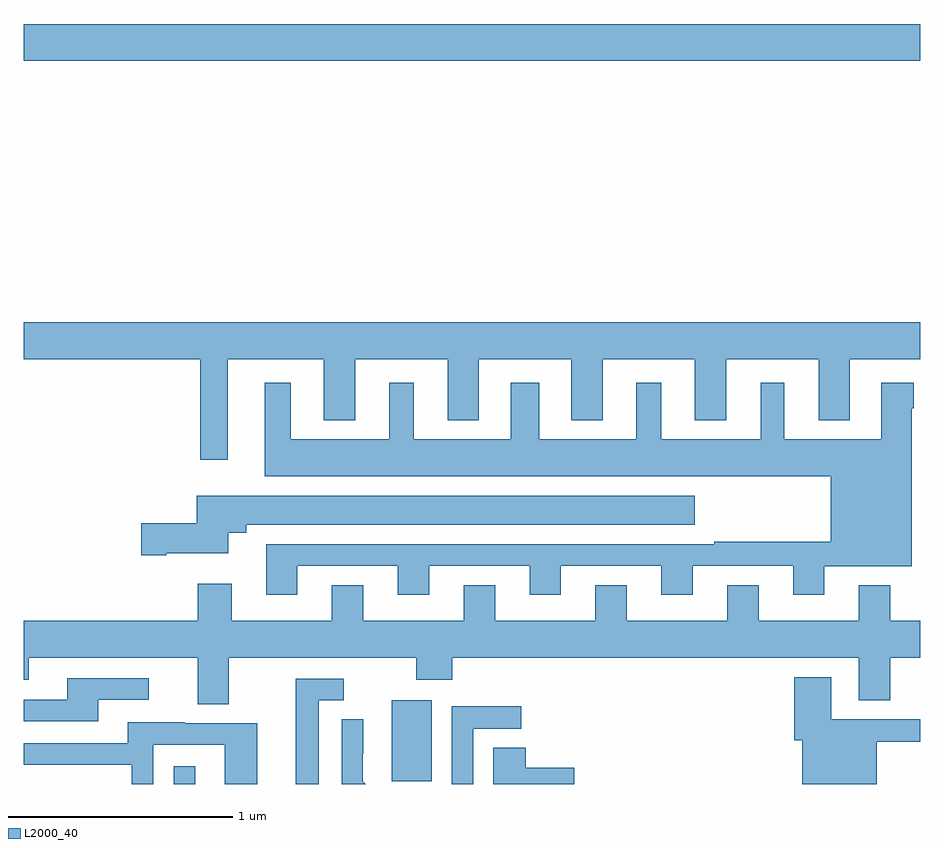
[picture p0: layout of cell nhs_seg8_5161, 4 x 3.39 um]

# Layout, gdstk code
import gdstk
lib = gdstk.Library(unit=1e-6, precision=1e-09)
def R(c, l, rs):  # rectangles x0, y0, x1, y1
    for r in rs: c.add(gdstk.rectangle(r[:2], r[2:], *l))
def P(c, l, *ps):  # polygons
    for p in ps: c.add(gdstk.Polygon(p, *l))
L2000_40 = (2000, 40)

nhs_seg8_5161 = lib.new_cell('nhs_seg8_5161')
R(nhs_seg8_5161, L2000_40, [(421.668,1151.9,421.765,1151.98), (422.642,1151.913,422.821,1152.274), (421,1155.128,425,1155.292)])
P(nhs_seg8_5161, L2000_40, [(421.909,1153.796),(422.339,1153.796),(422.339,1153.523),(422.479,1153.523),(422.479,1153.796),(422.891,1153.796),(422.891,1153.523),(423.031,1153.523),(423.031,1153.796),(423.443,1153.796),(423.443,1153.523),(423.583,1153.523),(423.583,1153.796),(423.995,1153.796),(423.995,1153.523),(424.135,1153.523),(424.135,1153.796),(424.547,1153.796),(424.547,1153.523),(424.687,1153.523),(424.687,1153.796),(425,1153.796),(425,1153.96),(421,1153.96),(421,1153.796),(421.788,1153.796),(421.788,1153.347),(421.909,1153.347)],
  [(422.221,1152.873),(422.669,1152.873),(422.669,1152.744),(422.809,1152.744),(422.809,1152.873),(423.257,1152.873),(423.257,1152.744),(423.397,1152.744),(423.397,1152.873),(423.845,1152.873),(423.845,1152.744),(423.985,1152.744),(423.985,1152.873),(424.433,1152.873),(424.433,1152.744),(424.573,1152.744),(424.573,1152.872),(424.963,1152.872),(424.963,1153.577),(424.971,1153.577),(424.971,1153.69),(424.826,1153.69),(424.826,1153.438),(424.393,1153.438),(424.393,1153.69),(424.289,1153.69),(424.289,1153.438),(423.844,1153.438),(423.844,1153.69),(423.734,1153.69),(423.734,1153.438),(423.301,1153.438),(423.301,1153.69),(423.173,1153.69),(423.173,1153.438),(422.74,1153.438),(422.74,1153.69),(422.63,1153.69),(422.63,1153.438),(422.191,1153.438),(422.191,1153.69),(422.075,1153.69),(422.075,1153.274),(424.601,1153.274),(424.601,1152.982),(424.081,1152.982),(424.081,1152.969),(422.081,1152.969),(422.081,1152.744),(422.221,1152.744)],
  [(421.636,1152.929),(421.912,1152.929),(421.912,1153.022),(421.993,1153.022),(421.993,1153.058),(423.994,1153.058),(423.994,1153.186),(421.772,1153.186),(421.772,1153.064),(421.524,1153.064),(421.524,1152.922),(421.636,1152.922)],
  [(421.915,1152.464),(422.752,1152.464),(422.752,1152.365),(422.912,1152.365),(422.912,1152.464),(424.727,1152.464),(424.727,1152.274),(424.867,1152.274),(424.867,1152.464),(425,1152.464),(425,1152.628),(424.867,1152.628),(424.867,1152.787),(424.727,1152.787),(424.727,1152.628),(424.279,1152.628),(424.279,1152.788),(424.139,1152.788),(424.139,1152.628),(423.691,1152.628),(423.691,1152.788),(423.551,1152.788),(423.551,1152.628),(423.103,1152.628),(423.103,1152.788),(422.963,1152.788),(422.963,1152.628),(422.515,1152.628),(422.515,1152.788),(422.375,1152.788),(422.375,1152.628),(421.927,1152.628),(421.927,1152.793),(421.775,1152.793),(421.775,1152.628),(421,1152.628),(421,1152.365),(421.021,1152.365),(421.021,1152.464),(421.775,1152.464),(421.775,1152.256),(421.915,1152.256)],
  [(424.807,1152.088),(425,1152.088),(425,1152.189),(424.603,1152.189),(424.603,1152.376),(424.439,1152.376),(424.439,1152.096),(424.475,1152.096),(424.475,1151.9),(424.807,1151.9)],
  [(421.333,1152.276),(421.558,1152.276),(421.558,1152.372),(421.193,1152.372),(421.193,1152.276),(421,1152.276),(421,1152.18),(421.333,1152.18)],
  [(422.317,1152.273),(422.428,1152.273),(422.428,1152.369),(422.213,1152.369),(422.213,1151.9),(422.317,1151.9)],
  [(423.006,1152.147),(423.22,1152.147),(423.22,1152.246),(422.91,1152.246),(422.91,1151.9),(423.006,1151.9)],
  [(422.513,1151.912),(422.513,1152.034),(422.514,1152.034),(422.514,1152.188),(422.418,1152.188),(422.418,1151.9),(422.525,1151.9)],
  [(421.578,1152.075),(421.896,1152.075),(421.896,1151.9),(422.041,1151.9),(422.041,1152.171),(421.717,1152.171),(421.717,1152.175),(421.463,1152.175),(421.463,1152.081),(421,1152.081),(421,1151.985),(421.482,1151.985),(421.482,1151.9),(421.578,1151.9)],
  [(423.457,1151.972),(423.239,1151.972),(423.239,1152.062),(423.095,1152.062),(423.095,1151.9),(423.457,1151.9)])

lib.write_gds('nhs_seg8_5161.gds')
